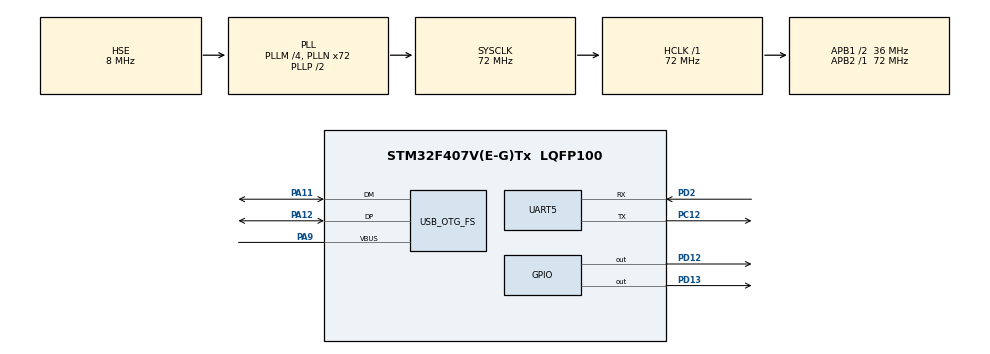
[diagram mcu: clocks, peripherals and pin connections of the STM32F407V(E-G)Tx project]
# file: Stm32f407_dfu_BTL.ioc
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Mcu.Family=STM32F4
Mcu.Name=STM32F407V(E-G)Tx
Mcu.Package=LQFP100
NVIC.OTG_FS_IRQn=true\:0\:0\:false\:false\:true\:false\:true\:true
NVIC.PriorityGroup=NVIC_PRIORITYGROUP_4
PA11.Mode=Device_Only
PA11.Signal=USB_OTG_FS_DM
PA12.Mode=Device_Only
PA12.Signal=USB_OTG_FS_DP
PA9.Mode=Activate_VBUS
PA9.Signal=USB_OTG_FS_VBUS
PC12.Mode=Asynchronous
PC12.Signal=UART5_TX
PD12.Signal=GPIO_Output
PD13.Signal=GPIO_Output
PD2.Mode=Asynchronous
PD2.Signal=UART5_RX
PH0-OSC_IN.Mode=HSE-External-Oscillator
PH0-OSC_IN.Signal=RCC_OSC_IN
PH1-OSC_OUT.Mode=HSE-External-Oscillator
PH1-OSC_OUT.Signal=RCC_OSC_OUT
ProjectManager.HeapSize=0x200
ProjectManager.StackSize=0x400
ProjectManager.TargetToolchain=STM32CubeIDE
RCC.48MHZClocksFreq_Value=48000000
RCC.AHBFreq_Value=72000000
RCC.APB1CLKDivider=RCC_HCLK_DIV2
RCC.APB1Freq_Value=36000000
RCC.APB1TimFreq_Value=72000000
RCC.APB2Freq_Value=72000000
RCC.APB2TimFreq_Value=72000000
RCC.CortexFreq_Value=72000000
RCC.HCLKFreq_Value=72000000
RCC.HSE_VALUE=8000000
RCC.HSI_VALUE=16000000
RCC.LSE_VALUE=32768
RCC.PLLM=4
RCC.PLLN=72
RCC.PLLQ=3
RCC.SYSCLKFreq_VALUE=72000000
RCC.SYSCLKSource=RCC_SYSCLKSOURCE_PLLCLK
RCC.VCOOutputFreq_Value=144000000
UART5.VirtualMode=Asynchronous
USB_DEVICE.CLASS_NAME_FS=DFU
USB_DEVICE.VirtualMode-DFU_FS=Dfu
USB_DEVICE.VirtualModeFS=Dfu_FS
USB_OTG_FS.VirtualMode=Device_Only
VP_RTC_VS_RTC_Activate.Mode=RTC_Enabled
VP_USB_DEVICE_VS_USB_DEVICE_DFU_FS.Mode=DFU_FS
board=custom

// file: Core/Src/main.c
/* USER CODE BEGIN Header */
/**
  ******************************************************************************
  * @file           : main.c
  * @brief          : Main program body
  ******************************************************************************
  * @attention
  *
  * Copyright (c) 2025 STMicroelectronics.
  * All rights reserved.
  *
  * This software is licensed under terms that can be found in the LICENSE file
  * in the root directory of this software component.
  * If no LICENSE file comes with this software, it is provided AS-IS.
  *
  ******************************************************************************
  */
/* USER CODE END Header */
#include "main.h"
#include "usb_device.h"

/* USER CODE BEGIN Includes */
#include "jump_to_app.h"
/* USER CODE END Includes */

RTC_HandleTypeDef hrtc;

UART_HandleTypeDef huart5;

void SystemClock_Config(void);
static void MX_GPIO_Init(void);
static void MX_RTC_Init(void);
static void MX_UART5_Init(void);

/* USER CODE BEGIN 0 */
#define BOOTLOADER_MAGIC 0x424F4F54U // 'BOOT'

extern RTC_HandleTypeDef hrtc; // generated by MX_RTC_Init()

void enter_dfu_mode(void)
{
    // Initialize USB DFU device (generated by CubeMX)
    MX_USB_DEVICE_Init();

    // Optionally indicate DFU with LED or keep alive loop
    while (1)
    {
        HAL_Delay(1000);
        HAL_GPIO_TogglePin(GPIOD, GPIO_PIN_12);
        // Bootloader stays in DFU until host writes manifest or user resets
    }
}
/* USER CODE END 0 */

int main(void)
{

  /* MCU Configuration--------------------------------------------------------*/

  /* Reset of all peripherals, Initializes the Flash interface and the Systick. */
  HAL_Init();

  /* Configure the system clock */
  SystemClock_Config();

  /* Initialize all configured peripherals */
  MX_GPIO_Init();
  MX_RTC_Init();
  MX_USB_DEVICE_Init();
  MX_UART5_Init();
  /* USER CODE BEGIN 2 */
  //HAL_RTCEx_BKUPWrite(&hrtc, RTC_BKP_DR0, BOOTLOADER_MAGIC);
  // Check RTC backup register for bootloader request
  uint32_t magic = HAL_RTCEx_BKUPRead(&hrtc, RTC_BKP_DR0);
  if (magic == BOOTLOADER_MAGIC)
  {
      // Clear magic and start DFU
      HAL_RTCEx_BKUPWrite(&hrtc, RTC_BKP_DR0, 0);
      enter_dfu_mode();
  }

  // If application valid, jump to it
  if (is_valid_application())
  {
      // Visual indication that we're about to jump
      for(int i = 0; i < 3; i++) {
          HAL_GPIO_WritePin(GPIOD, GPIO_PIN_12, GPIO_PIN_SET);
          HAL_Delay(100);
          HAL_GPIO_WritePin(GPIOD, GPIO_PIN_12, GPIO_PIN_RESET);
          HAL_Delay(100);
      }
      HAL_Delay(200);  // Small delay before jump

      jump_to_application();

      // If we get here, jump failed - indicate error
      while(1) {
          HAL_GPIO_WritePin(GPIOD, GPIO_PIN_12|GPIO_PIN_13, GPIO_PIN_SET);
          HAL_Delay(100);
          HAL_GPIO_WritePin(GPIOD, GPIO_PIN_12|GPIO_PIN_13, GPIO_PIN_RESET);
          HAL_Delay(100);
      }
  }

  // No valid app — start DFU to allow programming
  enter_dfu_mode();
  /* USER CODE END 2 */

  /* Infinite loop */
  while (1)
  {

  }
}

void SystemClock_Config(void)
{
  RCC_OscInitTypeDef RCC_OscInitStruct = {0};
  RCC_ClkInitTypeDef RCC_ClkInitStruct = {0};

  /** Configure the main internal regulator output voltage
  */
  __HAL_RCC_PWR_CLK_ENABLE();
  __HAL_PWR_VOLTAGESCALING_CONFIG(PWR_REGULATOR_VOLTAGE_SCALE1);

  /** Initializes the RCC Oscillators according to the specified parameters
  * in the RCC_OscInitTypeDef structure.
  */
  RCC_OscInitStruct.OscillatorType = RCC_OSCILLATORTYPE_LSI|RCC_OSCILLATORTYPE_HSE;
  RCC_OscInitStruct.HSEState = RCC_HSE_ON;
  RCC_OscInitStruct.LSIState = RCC_LSI_ON;
  RCC_OscInitStruct.PLL.PLLState = RCC_PLL_ON;
  RCC_OscInitStruct.PLL.PLLSource = RCC_PLLSOURCE_HSE;
  RCC_OscInitStruct.PLL.PLLM = 4;
  RCC_OscInitStruct.PLL.PLLN = 72;
  RCC_OscInitStruct.PLL.PLLP = RCC_PLLP_DIV2;
  RCC_OscInitStruct.PLL.PLLQ = 3;
  if (HAL_RCC_OscConfig(&RCC_OscInitStruct) != HAL_OK)
  {
    Error_Handler();
  }

  /** Initializes the CPU, AHB and APB buses clocks
  */
  RCC_ClkInitStruct.ClockType = RCC_CLOCKTYPE_HCLK|RCC_CLOCKTYPE_SYSCLK
                              |RCC_CLOCKTYPE_PCLK1|RCC_CLOCKTYPE_PCLK2;
  RCC_ClkInitStruct.SYSCLKSource = RCC_SYSCLKSOURCE_PLLCLK;
  RCC_ClkInitStruct.AHBCLKDivider = RCC_SYSCLK_DIV1;
  RCC_ClkInitStruct.APB1CLKDivider = RCC_HCLK_DIV2;
  RCC_ClkInitStruct.APB2CLKDivider = RCC_HCLK_DIV1;

  if (HAL_RCC_ClockConfig(&RCC_ClkInitStruct, FLASH_LATENCY_2) != HAL_OK)
  {
    Error_Handler();
  }
}

static void MX_RTC_Init(void)
{

  /** Initialize RTC Only
  */
  hrtc.Instance = RTC;
  hrtc.Init.HourFormat = RTC_HOURFORMAT_24;
  hrtc.Init.AsynchPrediv = 127;
  hrtc.Init.SynchPrediv = 255;
  hrtc.Init.OutPut = RTC_OUTPUT_DISABLE;
  hrtc.Init.OutPutPolarity = RTC_OUTPUT_POLARITY_HIGH;
  hrtc.Init.OutPutType = RTC_OUTPUT_TYPE_OPENDRAIN;
  if (HAL_RTC_Init(&hrtc) != HAL_OK)
  {
    Error_Handler();
  }

}

static void MX_UART5_Init(void)
{

  huart5.Instance = UART5;
  huart5.Init.BaudRate = 115200;
  huart5.Init.WordLength = UART_WORDLENGTH_8B;
  huart5.Init.StopBits = UART_STOPBITS_1;
  huart5.Init.Parity = UART_PARITY_NONE;
  huart5.Init.Mode = UART_MODE_TX_RX;
  huart5.Init.HwFlowCtl = UART_HWCONTROL_NONE;
  huart5.Init.OverSampling = UART_OVERSAMPLING_16;
  if (HAL_UART_Init(&huart5) != HAL_OK)
  {
    Error_Handler();
  }

}

static void MX_GPIO_Init(void)
{
  GPIO_InitTypeDef GPIO_InitStruct = {0};

  /* GPIO Ports Clock Enable */
  __HAL_RCC_GPIOH_CLK_ENABLE();
  __HAL_RCC_GPIOD_CLK_ENABLE();
  __HAL_RCC_GPIOA_CLK_ENABLE();
  __HAL_RCC_GPIOC_CLK_ENABLE();

  /*Configure GPIO pin Output Level */
  HAL_GPIO_WritePin(GPIOD, GPIO_PIN_12|GPIO_PIN_13, GPIO_PIN_RESET);

  /*Configure GPIO pins : PD12 PD13 */
  GPIO_InitStruct.Pin = GPIO_PIN_12|GPIO_PIN_13;
  GPIO_InitStruct.Mode = GPIO_MODE_OUTPUT_PP;
  GPIO_InitStruct.Pull = GPIO_NOPULL;
  GPIO_InitStruct.Speed = GPIO_SPEED_FREQ_LOW;
  HAL_GPIO_Init(GPIOD, &GPIO_InitStruct);

}

void Error_Handler(void)
{
  __disable_irq();
  while (1)
  {
  }
}
